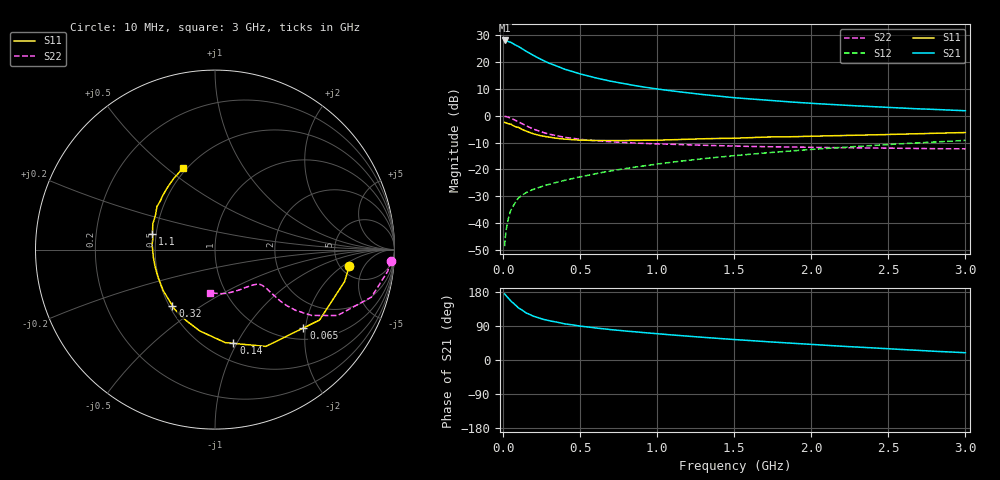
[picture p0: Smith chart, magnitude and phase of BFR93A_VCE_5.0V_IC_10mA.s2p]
! Infineon Technologies  Discrete & RF Semiconductors
! BFR93A
! VCE =  5.0 V,  IC =  10 mA
! Common Emitter S-Parameters:  Nov 2015
# GHz  S  MA  R  50
!  f  S11  S21  S12  S22
! GHz  MAG  ANG  MAG  ANG  MAG  ANG  MAG  ANG
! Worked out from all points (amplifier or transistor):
!   180 points, 10 MHz to 3 GHz, reference 50 ohm
!   highest |S21| = 28.1 dB at 10 MHz (marker M1)
!   |S21| within 3 dB of that: start of sweep to 120.6 MHz
!   unconditionally stable (mu >= 1): 585.4 MHz to 2.642 GHz
!   at 160 MHz: K = 0.50, MSG = 26.1 dB, |S12| = -28.4 dB
!   at 1.22 GHz: K = 1.09, MAG = 10.6 dB, |S12| = -16.5 dB
!   at 3 GHz: K = 0.97, MSG = 5.5 dB, |S12| = -9.2 dB
!   S11 on the Smith chart (normalised r, x): 10 MHz: 6.02, -2.57; 65 MHz: 1.26, -1.95; 140 MHz: 0.66, -0.97; 320 MHz: 0.52, -0.38; 1.1 GHz: 0.48, +0.10; 3 GHz: 0.48, +0.57
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0.01  0.7546 -7.0  25.54 174.5  0.0037 87.4  0.9804 -3.7
0.02  0.7434 -13.9  25.26 169.5  0.0073 81.1  0.9704 -7.1
0.05  0.7023 -34.0  23.61 155.4  0.0171 74.5  0.9109 -16.9
0.065  0.6583 -41.6  22.22 150.6  0.0207 70.2  0.8667 -19.9
0.1  0.6093 -62.3  19.71 137.2  0.0293 64.3  0.7747 -28.3
0.14  0.5324 -78.9  16.68 127.1  0.0354 60.0  0.6749 -32.9
0.15  0.5214 -83.7  16.02 124.0  0.037 59.1  0.6508 -34.3
0.2  0.461 -100.6  13.22 115.1  0.043 57.3  0.5623 -37.0
0.26  0.4178 -116.0  10.82 107.4  0.0491 57.0  0.4903 -38.1
0.3  0.4012 -124.1  9.578 103.3  0.0529 57.5  0.455 -38.2
0.32  0.392 -127.3  9.135 102.0  0.0548 57.8  0.4435 -38.1
0.4  0.3686 -141.2  7.421 95.4  0.0626 58.9  0.3973 -37.7
0.52  0.3511 -155.9  5.872 88.5  0.0748 60.7  0.3602 -37.1
0.6  0.3473 -163.7  5.118 84.5  0.0832 61.6  0.3428 -36.9
0.7  0.3465 -171.4  4.426 80.1  0.0939 62.4  0.3279 -37.2
0.8  0.3467 -178.2  3.905 76.2  0.1046 62.8  0.3162 -37.8
1.02  0.3529 169.3  3.114 68.6  0.1282 62.8  0.2991 -40.4
1.1  0.36 165.6  2.908 66.0  0.1371 62.6  0.2938 -41.8
1.52  0.3844 149.5  2.159 53.5  0.1831 60.5  0.2724 -50.2
2.02  0.4181 134.4  1.701 40.6  0.2382 56.7  0.2582 -63.2
2.52  0.4508 122.2  1.425 29.3  0.2941 51.8  0.2495 -78.6
3  0.4891 111.1  1.246 19.2  0.3487 46.5  0.243 -96.8
